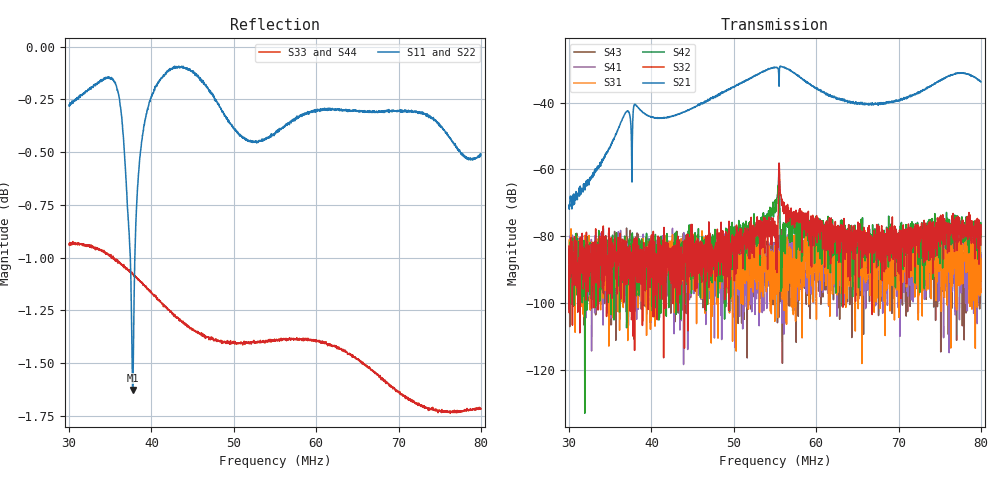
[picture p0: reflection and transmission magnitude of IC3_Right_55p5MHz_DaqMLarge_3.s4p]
#  HZ  S  DB  R  50.00
! Rohde & Schwarz Vector Network Analyzer
! Rohde-Schwarz,ZNB8-4Port,1311601044102961,2.82
! Created: UTC 2/12/2019, 2:24:01 PM
! freq[Hz]  db:S11  ang:S11  db:S12  ang:S12  db:S13  ang:S13  db:S14  ang:S14
!  db:S21  ang:S21  db:S22  ang:S22  db:S23  ang:S23  db:S24  ang:S24
!  db:S31  ang:S31  db:S32  ang:S32  db:S33  ang:S33  db:S34  ang:S34
!  db:S41  ang:S41  db:S42  ang:S42  db:S43  ang:S43  db:S44  ang:S44
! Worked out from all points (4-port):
!   2001 points, 30 MHz to 80 MHz, reference 50 ohm
!   strongest paths, dB at 30 MHz, 42.5 MHz, 55 MHz, 67.5 MHz, 80 MHz:
!     S21: -70.8, -44.0, -29.4, -40.0, -33.7
!     S32: -82.9, -89.5, -76.5, -76.7, -82.6
!     S42: -90.0, -92.6, -73.0, -89.0, -80.3
!     S31: -86.5, -83.8, -86.1, -82.8, -86.8
!     S41: -88.4, -89.6, -83.0, -86.4, -87.0
!     S43: -97.8, -88.9, -94.4, -85.4, -93.5
!   lowest |S11| = -1.6 dB at 37.73 MHz (marker M1), VSWR 10.70, Z = 45.6 - j142 ohm
!   |S11| at or under -10 dB: nowhere
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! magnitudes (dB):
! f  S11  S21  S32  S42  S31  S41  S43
! 30 MHz  -0.3  -70.8  -82.9  -90.0  -86.5  -88.4  -97.8
! 37.73 MHz  -1.6  -45.7  -82.4  -89.4  -81.9  -82.0  -88.1
! 52.1 MHz  -0.5  -32.5  -74.4  -76.2  -95.4  -92.0  -101.5
! 55.12 MHz  -0.4  -29.4  -89.9  -71.6  -89.7  -88.7  -87.4
! 55.67 MHz  -0.4  -29.1  -67.4  -83.0  -87.6  -80.0  -80.9
! 61.88 MHz  -0.3  -38.0  -76.2  -75.9  -88.5  -89.3  -85.0
! 80 MHz  -0.5  -33.7  -82.6  -80.3  -86.8  -87.0  -93.5
